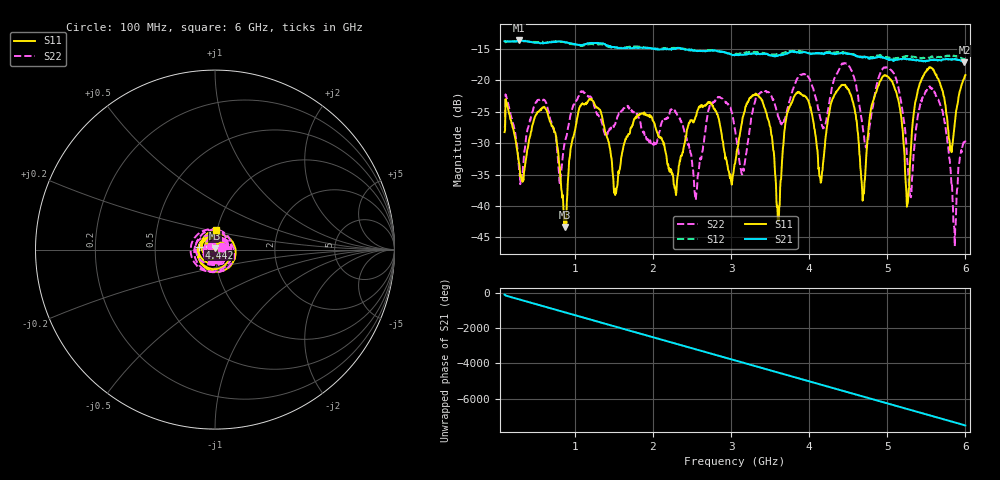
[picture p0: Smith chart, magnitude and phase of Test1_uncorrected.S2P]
!Created with skrf (http://scikit-rf.org).
# MHz S RI R 50.0
!freq ReS11 ImS11 ReS21 ImS21 ReS12 ImS12 ReS22 ImS22
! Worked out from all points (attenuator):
!   1001 points, 100 MHz to 6 GHz, reference 50 ohm
!   highest |S21| = -13.70 dB at 282.9 MHz (marker M1); lowest = -17.2 dB at 5.988 GHz (marker M2)
!   lowest |S11| = -43.3 dB at 872.9 MHz (marker M3), VSWR 1.01, Z = 50 + j0.682 ohm
!   |S11| at or under -10 dB: start of sweep to end of sweep
!   |S22| runs from -46.4 to -17.3 dB; largest |S21 - S12| = 0.18
!   S11 on the Smith chart (normalised r, x): 100 MHz: 1.07, +0.04; 4.442 GHz: 0.83, +0.02; 6 GHz: 0.99, +0.22
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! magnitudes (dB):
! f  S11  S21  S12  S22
! 100 MHz  -28.3  -13.8  -13.8  -27.5
! 282.9 MHz  -33.1  -13.7  -13.9  -33.5
! 619.2 MHz  -24.5  -14.1  -14.0  -23.3
! 872.9 MHz  -43.3  -14.0  -14.0  -29.7
! 1.085 GHz  -23.8  -14.4  -14.6  -21.8
! 1.522 GHz  -37.3  -14.8  -14.9  -26.7
! 2.071 GHz  -29.0  -15.1  -15.0  -29.0
! 3.05 GHz  -33.3  -16.0  -15.9  -27.9
! 3.357 GHz  -22.6  -15.8  -15.7  -22.2
! 3.605 GHz  -42.2  -16.1  -15.9  -25.8
! 3.74 GHz  -24.4  -15.6  -15.5  -23.6
! 4.035 GHz  -25.4  -15.8  -15.7  -20.9
! 4.147 GHz  -36.3  -15.8  -15.7  -26.2
! 4.442 GHz  -20.8  -15.8  -15.6  -17.3
! 4.69 GHz  -38.3  -16.4  -16.3  -28.0
! 5.021 GHz  -19.6  -16.8  -16.5  -18.1
! 5.257 GHz  -39.7  -16.7  -16.2  -33.0
! 5.463 GHz  -19.3  -17.0  -16.4  -22.7
! 5.711 GHz  -21.7  -16.7  -16.4  -25.1
! 5.858 GHz  -27.6  -16.7  -16.1  -43.4
! 5.988 GHz  -19.6  -17.2  -16.7  -30.1
! 6 GHz  -19.2  -17.2  -16.7  -29.6
